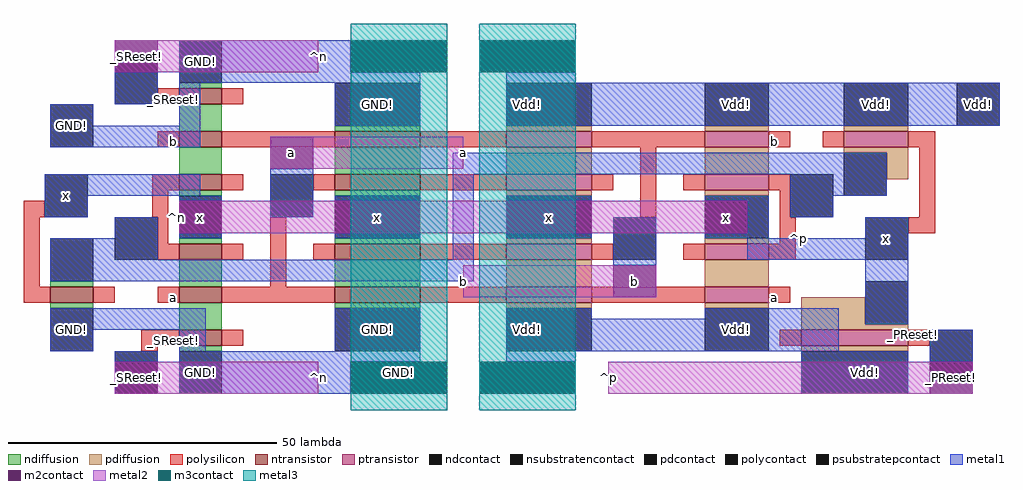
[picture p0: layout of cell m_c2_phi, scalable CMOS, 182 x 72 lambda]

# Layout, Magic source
magic
tech scmos
<< ndiffusion >>
rect -53 -121 -45 -120
rect -53 -129 -45 -124
rect -24 -129 -8 -128
rect -53 -137 -45 -132
rect -24 -137 -8 -132
rect -53 -141 -45 -140
rect -53 -150 -45 -149
rect -24 -141 -8 -140
rect -77 -158 -69 -157
rect -53 -158 -45 -153
rect -24 -150 -8 -149
rect -24 -158 -8 -153
rect -77 -162 -69 -161
rect -53 -166 -45 -161
rect -24 -162 -8 -161
rect -53 -170 -45 -169
<< pdiffusion >>
rect 8 -129 24 -128
rect 45 -129 57 -128
rect 71 -129 83 -128
rect 8 -137 24 -132
rect 8 -141 24 -140
rect 45 -137 57 -132
rect 71 -133 83 -132
rect 8 -150 24 -149
rect 45 -141 57 -140
rect 45 -150 57 -149
rect 79 -138 83 -133
rect 8 -158 24 -153
rect 45 -158 57 -153
rect 8 -162 24 -161
rect 45 -162 57 -161
rect 63 -165 75 -160
rect 63 -166 83 -165
rect 63 -170 83 -169
<< ntransistor >>
rect -53 -124 -45 -121
rect -53 -132 -45 -129
rect -24 -132 -8 -129
rect -53 -140 -45 -137
rect -24 -140 -8 -137
rect -53 -153 -45 -150
rect -24 -153 -8 -150
rect -77 -161 -69 -158
rect -53 -161 -45 -158
rect -24 -161 -8 -158
rect -53 -169 -45 -166
<< ptransistor >>
rect 8 -132 24 -129
rect 45 -132 57 -129
rect 71 -132 83 -129
rect 8 -140 24 -137
rect 45 -140 57 -137
rect 8 -153 24 -150
rect 45 -153 57 -150
rect 8 -161 24 -158
rect 45 -161 57 -158
rect 63 -169 83 -166
<< polysilicon >>
rect -57 -124 -53 -121
rect -45 -124 -41 -121
rect -57 -132 -53 -129
rect -45 -132 -24 -129
rect -8 -132 8 -129
rect 24 -132 45 -129
rect 57 -132 61 -129
rect 67 -132 71 -129
rect 83 -132 88 -129
rect -82 -145 -78 -142
rect -58 -140 -53 -137
rect -45 -140 -41 -137
rect -58 -145 -55 -140
rect -82 -158 -79 -145
rect -57 -150 -55 -145
rect -28 -140 -24 -137
rect -8 -140 8 -137
rect 24 -140 28 -137
rect -57 -153 -53 -150
rect -45 -153 -41 -150
rect -36 -158 -33 -145
rect 33 -145 36 -132
rect 41 -140 45 -137
rect 57 -140 61 -137
rect -28 -153 -24 -150
rect -8 -153 8 -150
rect 24 -153 28 -150
rect 59 -145 61 -140
rect 85 -145 88 -132
rect 59 -150 62 -145
rect 41 -153 45 -150
rect 57 -153 62 -150
rect 83 -148 88 -145
rect -82 -161 -77 -158
rect -69 -161 -65 -158
rect -57 -161 -53 -158
rect -45 -161 -24 -158
rect -8 -161 8 -158
rect 24 -161 45 -158
rect 57 -161 61 -158
rect -60 -169 -53 -166
rect -45 -169 -41 -166
rect -60 -170 -57 -169
rect 59 -169 63 -166
rect 83 -169 87 -166
<< ndcontact >>
rect -53 -120 -45 -112
rect -24 -128 -8 -120
rect -77 -157 -69 -149
rect -53 -149 -45 -141
rect -24 -149 -8 -141
rect -77 -170 -69 -162
rect -24 -170 -8 -162
rect -53 -178 -45 -170
<< pdcontact >>
rect 8 -128 24 -120
rect 45 -128 57 -120
rect 71 -128 83 -120
rect 8 -149 24 -141
rect 45 -149 57 -141
rect 71 -141 79 -133
rect 8 -170 24 -162
rect 45 -170 57 -162
rect 75 -165 83 -157
rect 63 -178 83 -170
<< psubstratepcontact >>
rect -77 -132 -69 -124
<< nsubstratencontact >>
rect 92 -128 100 -120
<< polycontact >>
rect -65 -124 -57 -116
rect -78 -145 -70 -137
rect -65 -153 -57 -145
rect -36 -145 -28 -137
rect 28 -153 36 -145
rect 61 -145 69 -137
rect 75 -153 83 -145
rect -65 -178 -57 -170
rect 87 -174 95 -166
<< metal1 >>
rect -65 -124 -57 -118
rect -53 -118 -21 -112
rect -53 -120 -8 -118
rect -77 -128 -69 -124
rect -53 -128 -49 -120
rect -24 -128 -8 -120
rect 8 -120 21 -118
rect 8 -128 100 -120
rect -77 -132 -49 -128
rect -78 -141 -49 -137
rect -78 -145 -70 -141
rect -53 -142 -45 -141
rect -65 -149 -57 -145
rect -36 -145 -28 -136
rect -2 -137 79 -133
rect -24 -142 -8 -141
rect -53 -149 -45 -148
rect -24 -149 -8 -148
rect -77 -153 -57 -149
rect -2 -153 2 -137
rect 61 -141 79 -137
rect 8 -142 24 -141
rect 45 -142 57 -141
rect 8 -149 24 -148
rect -77 -157 2 -153
rect 28 -154 36 -145
rect 53 -148 57 -142
rect 61 -145 69 -141
rect 45 -149 57 -148
rect 75 -149 83 -145
rect 53 -153 83 -149
rect -77 -166 -48 -162
rect -77 -170 -69 -166
rect -53 -170 -48 -166
rect -24 -170 -8 -162
rect -65 -172 -57 -170
rect -53 -172 -8 -170
rect 8 -164 24 -162
rect 45 -164 70 -162
rect 8 -170 70 -164
rect 75 -165 83 -153
rect 8 -172 21 -170
rect -53 -178 -21 -172
rect 63 -178 83 -170
rect 87 -172 95 -166
<< m2contact >>
rect -65 -118 -57 -112
rect -21 -118 -3 -112
rect 3 -118 21 -112
rect -36 -136 -28 -130
rect -53 -148 -45 -142
rect -24 -148 -8 -142
rect 8 -148 24 -142
rect 45 -148 53 -142
rect 28 -160 36 -154
rect -65 -178 -57 -172
rect -21 -178 -3 -172
rect 3 -178 21 -172
rect 87 -178 95 -172
<< metal2 >>
rect -65 -118 -27 -112
rect -36 -136 0 -130
rect -53 -148 53 -142
rect 0 -160 36 -154
rect -65 -178 -27 -172
rect 27 -178 95 -172
<< m3contact >>
rect -21 -118 -3 -112
rect 3 -118 21 -112
rect -21 -178 -3 -172
rect 3 -178 21 -172
<< metal3 >>
rect -21 -181 -3 -109
rect 3 -181 21 -109
<< labels >>
rlabel metal1 12 -124 12 -124 5 Vdd!
rlabel metal1 12 -166 12 -166 1 Vdd!
rlabel m2contact -12 -174 -12 -174 1 GND!
rlabel metal1 -49 -116 -49 -116 5 GND!
rlabel polysilicon -54 -123 -54 -123 1 _SReset!
rlabel metal1 -49 -174 -49 -174 1 GND!
rlabel polysilicon -54 -168 -54 -168 1 _SReset!
rlabel metal1 51 -124 51 -124 5 Vdd!
rlabel metal1 51 -166 51 -166 1 Vdd!
rlabel polysilicon -54 -131 -54 -131 3 b
rlabel polysilicon -54 -160 -54 -160 3 a
rlabel metal1 77 -124 77 -124 5 Vdd!
rlabel metal1 75 -174 75 -174 5 Vdd!
rlabel polysilicon 84 -167 84 -167 7 _PReset!
rlabel metal1 79 -149 79 -149 5 x
rlabel polysilicon 58 -131 58 -131 7 b
rlabel polysilicon 58 -160 58 -160 7 a
rlabel metal2 0 -160 0 -154 3 b
rlabel metal2 0 -136 0 -130 7 a
rlabel metal2 91 -175 91 -175 7 _PReset!
rlabel metal2 -61 -115 -61 -115 1 _SReset!
rlabel metal1 96 -124 96 -124 7 Vdd!
rlabel metal1 -73 -166 -73 -166 1 GND!
rlabel metal2 -61 -175 -61 -175 1 _SReset!
rlabel metal1 -73 -128 -73 -128 1 GND!
rlabel metal1 -74 -141 -74 -141 3 x
rlabel space -83 -179 -24 -111 7 ^n
rlabel space 24 -179 101 -119 3 ^p
rlabel metal2 27 -178 27 -172 7 ^p
rlabel metal2 -27 -178 -27 -172 3 ^n
rlabel metal2 -27 -118 -27 -112 3 ^n
rlabel ndcontact -16 -166 -16 -166 1 GND!
rlabel metal1 -16 -124 -16 -124 5 GND!
rlabel metal2 -32 -133 -32 -133 1 a
rlabel metal2 -49 -145 -49 -145 1 x
rlabel metal2 -16 -145 -16 -145 1 x
rlabel metal2 16 -145 16 -145 1 x
rlabel metal2 49 -145 49 -145 1 x
rlabel metal2 32 -157 32 -157 1 b
<< end >>
